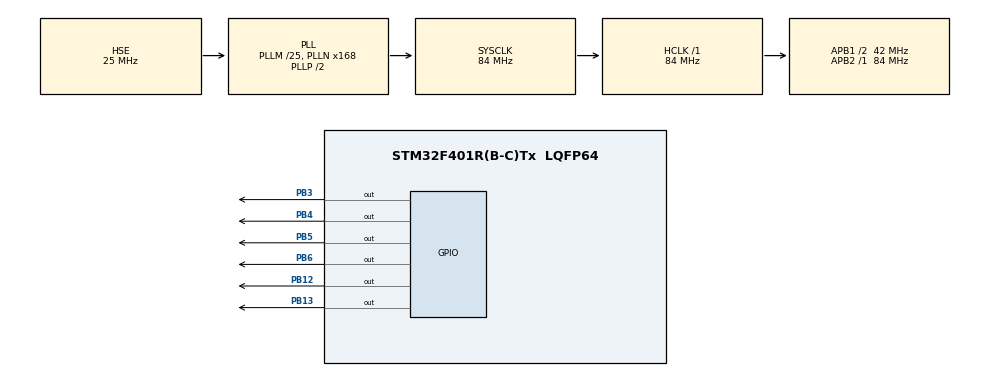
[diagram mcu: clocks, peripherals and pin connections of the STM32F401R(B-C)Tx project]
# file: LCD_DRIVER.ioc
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Mcu.Family=STM32F4
Mcu.Name=STM32F401R(B-C)Tx
Mcu.Package=LQFP64
NVIC.PriorityGroup=NVIC_PRIORITYGROUP_4
PB12.Signal=GPIO_Output
PB13.Signal=GPIO_Output
PB3.Signal=GPIO_Output
PB4.Signal=GPIO_Output
PB5.Signal=GPIO_Output
PB6.Signal=GPIO_Output
PH0\ -\ OSC_IN.Mode=HSE-External-Oscillator
PH0\ -\ OSC_IN.Signal=RCC_OSC_IN
PH1\ -\ OSC_OUT.Mode=HSE-External-Oscillator
PH1\ -\ OSC_OUT.Signal=RCC_OSC_OUT
ProjectManager.HeapSize=0x200
ProjectManager.StackSize=0x400
ProjectManager.TargetToolchain=STM32CubeIDE
RCC.48MHZClocksFreq_Value=42000000
RCC.AHBFreq_Value=84000000
RCC.APB1CLKDivider=RCC_HCLK_DIV2
RCC.APB1Freq_Value=42000000
RCC.APB1TimFreq_Value=84000000
RCC.APB2Freq_Value=84000000
RCC.APB2TimFreq_Value=84000000
RCC.CortexFreq_Value=84000000
RCC.HCLKFreq_Value=84000000
RCC.HSE_VALUE=25000000
RCC.HSI_VALUE=16000000
RCC.LSE_VALUE=32768
RCC.PLLM=25
RCC.PLLN=168
RCC.PLLSourceVirtual=RCC_PLLSOURCE_HSE
RCC.SYSCLKFreq_VALUE=84000000
RCC.SYSCLKSource=RCC_SYSCLKSOURCE_PLLCLK
RCC.VCOOutputFreq_Value=168000000
TIM1.Prescaler=83
VP_TIM1_VS_ClockSourceINT.Mode=Internal
board=custom

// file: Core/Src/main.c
/* USER CODE BEGIN Header */
/**
  ******************************************************************************
  * @file           : main.c
  * @brief          : Main program body
  ******************************************************************************
  * @attention
  *
  * Copyright (c) 2026 STMicroelectronics.
  * All rights reserved.
  *
  * This software is licensed under terms that can be found in the LICENSE file
  * in the root directory of this software component.
  * If no LICENSE file comes with this software, it is provided AS-IS.
  *
  ******************************************************************************
  */
/* USER CODE END Header */
#include "main.h"

TIM_HandleTypeDef htim1;

void SystemClock_Config(void);
static void MX_GPIO_Init(void);
static void MX_TIM1_Init(void);
/* USER CODE BEGIN PFP */
void delay_us (uint16_t us);
/* USER CODE END PFP */

int main(void)
{

  /* MCU Configuration--------------------------------------------------------*/

  /* Reset of all peripherals, Initializes the Flash interface and the Systick. */
  HAL_Init();

  /* Configure the system clock */
  SystemClock_Config();

  /* Initialize all configured peripherals */
  MX_GPIO_Init();
  MX_TIM1_Init();
  /* USER CODE BEGIN 2 */
  HAL_TIM_Base_Start(&htim1);

  LCD_GPIO rs_pin = {.GPIO_PORT = GPIOB, .pin = GPIO_PIN_12};
  LCD_GPIO en_pin = {.GPIO_PORT = GPIOB, .pin = GPIO_PIN_13};
  LCD_GPIO D4_pin = {.GPIO_PORT = GPIOB, .pin = GPIO_PIN_3};
  LCD_GPIO D5_pin = {.GPIO_PORT = GPIOB, .pin = GPIO_PIN_4};
  LCD_GPIO D6_pin = {.GPIO_PORT = GPIOB, .pin = GPIO_PIN_5};
  LCD_GPIO D7_pin = {.GPIO_PORT = GPIOB, .pin = GPIO_PIN_6};

  lcd_4bit_struct theLCD = {.pin_rs = &rs_pin, .pin_en = &en_pin,
		  	  	  	  	  	.pin_D4 = &D4_pin, .pin_D5 = &D5_pin, .pin_D6 = &D6_pin, .pin_D7 = &D7_pin,
							.lcd_tim = &htim1,
							.lcd_col = 16, .lcd_row = 2};

  lcd_init(&theLCD);
  lcd_cursor_on(&theLCD);
  lcd_blink_on(&theLCD);

  lcd_print(&theLCD, "Hello");
  /* USER CODE END 2 */

  /* Infinite loop */
  while (1)
  {

  }
}

void SystemClock_Config(void)
{
  RCC_OscInitTypeDef RCC_OscInitStruct = {0};
  RCC_ClkInitTypeDef RCC_ClkInitStruct = {0};

  /** Configure the main internal regulator output voltage
  */
  __HAL_RCC_PWR_CLK_ENABLE();
  __HAL_PWR_VOLTAGESCALING_CONFIG(PWR_REGULATOR_VOLTAGE_SCALE2);

  /** Initializes the RCC Oscillators according to the specified parameters
  * in the RCC_OscInitTypeDef structure.
  */
  RCC_OscInitStruct.OscillatorType = RCC_OSCILLATORTYPE_HSE;
  RCC_OscInitStruct.HSEState = RCC_HSE_ON;
  RCC_OscInitStruct.PLL.PLLState = RCC_PLL_ON;
  RCC_OscInitStruct.PLL.PLLSource = RCC_PLLSOURCE_HSE;
  RCC_OscInitStruct.PLL.PLLM = 25;
  RCC_OscInitStruct.PLL.PLLN = 168;
  RCC_OscInitStruct.PLL.PLLP = RCC_PLLP_DIV2;
  RCC_OscInitStruct.PLL.PLLQ = 4;
  if (HAL_RCC_OscConfig(&RCC_OscInitStruct) != HAL_OK)
  {
    Error_Handler();
  }

  /** Initializes the CPU, AHB and APB buses clocks
  */
  RCC_ClkInitStruct.ClockType = RCC_CLOCKTYPE_HCLK|RCC_CLOCKTYPE_SYSCLK
                              |RCC_CLOCKTYPE_PCLK1|RCC_CLOCKTYPE_PCLK2;
  RCC_ClkInitStruct.SYSCLKSource = RCC_SYSCLKSOURCE_PLLCLK;
  RCC_ClkInitStruct.AHBCLKDivider = RCC_SYSCLK_DIV1;
  RCC_ClkInitStruct.APB1CLKDivider = RCC_HCLK_DIV2;
  RCC_ClkInitStruct.APB2CLKDivider = RCC_HCLK_DIV1;

  if (HAL_RCC_ClockConfig(&RCC_ClkInitStruct, FLASH_LATENCY_2) != HAL_OK)
  {
    Error_Handler();
  }
}

static void MX_TIM1_Init(void)
{

  TIM_ClockConfigTypeDef sClockSourceConfig = {0};
  TIM_MasterConfigTypeDef sMasterConfig = {0};

  htim1.Instance = TIM1;
  htim1.Init.Prescaler = 83;
  htim1.Init.CounterMode = TIM_COUNTERMODE_UP;
  htim1.Init.Period = 65535;
  htim1.Init.ClockDivision = TIM_CLOCKDIVISION_DIV1;
  htim1.Init.RepetitionCounter = 0;
  htim1.Init.AutoReloadPreload = TIM_AUTORELOAD_PRELOAD_DISABLE;
  if (HAL_TIM_Base_Init(&htim1) != HAL_OK)
  {
    Error_Handler();
  }
  sClockSourceConfig.ClockSource = TIM_CLOCKSOURCE_INTERNAL;
  if (HAL_TIM_ConfigClockSource(&htim1, &sClockSourceConfig) != HAL_OK)
  {
    Error_Handler();
  }
  sMasterConfig.MasterOutputTrigger = TIM_TRGO_RESET;
  sMasterConfig.MasterSlaveMode = TIM_MASTERSLAVEMODE_DISABLE;
  if (HAL_TIMEx_MasterConfigSynchronization(&htim1, &sMasterConfig) != HAL_OK)
  {
    Error_Handler();
  }

}

static void MX_GPIO_Init(void)
{
  GPIO_InitTypeDef GPIO_InitStruct = {0};

  /* GPIO Ports Clock Enable */
  __HAL_RCC_GPIOH_CLK_ENABLE();
  __HAL_RCC_GPIOB_CLK_ENABLE();

  /*Configure GPIO pin Output Level */
  HAL_GPIO_WritePin(GPIOB, GPIO_PIN_12|GPIO_PIN_13|GPIO_PIN_3|GPIO_PIN_4
                          |GPIO_PIN_5|GPIO_PIN_6, GPIO_PIN_RESET);

  /*Configure GPIO pins : PB12 PB13 PB3 PB4
                           PB5 PB6 */
  GPIO_InitStruct.Pin = GPIO_PIN_12|GPIO_PIN_13|GPIO_PIN_3|GPIO_PIN_4
                          |GPIO_PIN_5|GPIO_PIN_6;
  GPIO_InitStruct.Mode = GPIO_MODE_OUTPUT_PP;
  GPIO_InitStruct.Pull = GPIO_NOPULL;
  GPIO_InitStruct.Speed = GPIO_SPEED_FREQ_LOW;
  HAL_GPIO_Init(GPIOB, &GPIO_InitStruct);

}

/* USER CODE BEGIN 4 */
volatile void delay_us (uint16_t us)
{
	__HAL_TIM_SET_COUNTER(&htim1,0);  // set the counter value a 0
	while (__HAL_TIM_GET_COUNTER(&htim1) < us);  // wait for the counter to reach the us input in the parameter
}
/* USER CODE END 4 */

void Error_Handler(void)
{
  __disable_irq();
  while (1)
  {
  }
}
